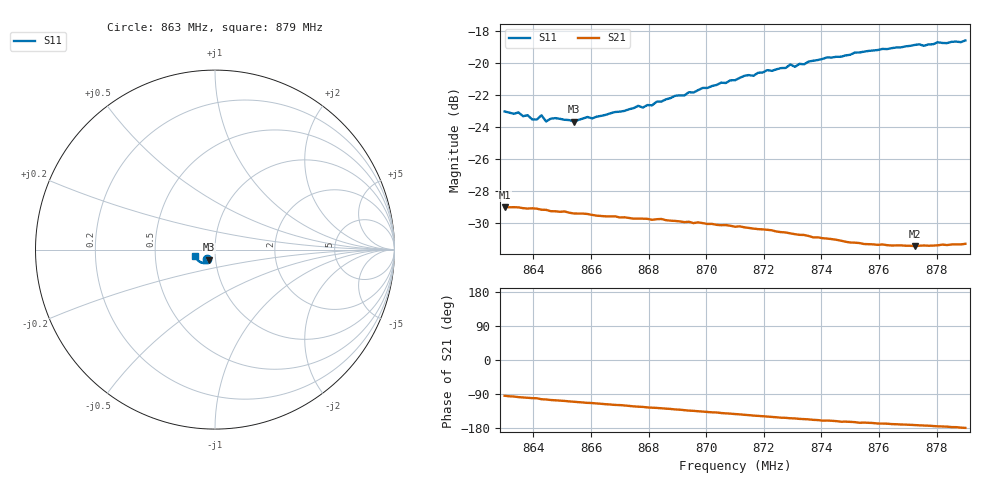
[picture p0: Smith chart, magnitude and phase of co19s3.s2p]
# HZ S RI R 50
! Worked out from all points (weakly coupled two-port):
!   101 points, 863 MHz to 879 MHz, reference 50 ohm
!   highest |S21| = -29.01 dB at 863 MHz (marker M1); lowest = -31.5 dB at 877.24 MHz (marker M2)
!   lowest |S11| = -23.6 dB at 865.4 MHz (marker M3), VSWR 1.14, Z = 46.3 - j5.17 ohm
!   |S11| at or under -10 dB: start of sweep to end of sweep
!   S12 and S22 are empty: the file has one direction only
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8.63e8  -0.0448 -0.0546  -0.00271 -0.0353  0 0  0 0
8.6348e8  -0.0433 -0.0552  -0.00488 -0.035  0 0  0 0
8.6396e8  -0.0401 -0.0533  -0.00649 -0.0345  0 0  0 0
8.6412e8  -0.0395 -0.0537  -0.00666 -0.0344  0 0  0 0
8.6428e8  -0.0399 -0.056  -0.0081 -0.0338  0 0  0 0
8.6444e8  -0.0385 -0.0533  -0.0085 -0.0337  0 0  0 0
8.6476e8  -0.0388 -0.055  -0.00967 -0.033  0 0  0 0
8.654e8  -0.0351 -0.0556  -0.0116 -0.0318  0 0  0 0
8.6572e8  -0.035 -0.0573  -0.0127 -0.0313  0 0  0 0
8.6604e8  -0.0344 -0.0577  -0.0134 -0.0307  0 0  0 0
8.6764e8  -0.0364 -0.0639  -0.0178 -0.0273  0 0  0 0
8.678e8  -0.0346 -0.0639  -0.0181 -0.0271  0 0  0 0
8.6844e8  -0.0366 -0.0665  -0.0197 -0.0259  0 0  0 0
8.71e8  -0.0484 -0.0741  -0.0244 -0.0187  0 0  0 0
8.7132e8  -0.0513 -0.0756  -0.025 -0.0177  0 0  0 0
8.7276e8  -0.0615 -0.0747  -0.0262 -0.0136  0 0  0 0
8.7292e8  -0.0643 -0.0755  -0.0263 -0.013  0 0  0 0
8.7308e8  -0.0635 -0.0739  -0.0262 -0.0127  0 0  0 0
8.7372e8  -0.0701 -0.0739  -0.0264 -0.0107  0 0  0 0
8.7644e8  -0.0932 -0.0613  -0.0264 -0.00508  0 0  0 0
8.7724e8  -0.0997 -0.0557  -0.0265 -0.00388  0 0  0 0
8.79e8  -0.1116 -0.0381  -0.0272 -0.000396  0 0  0 0
